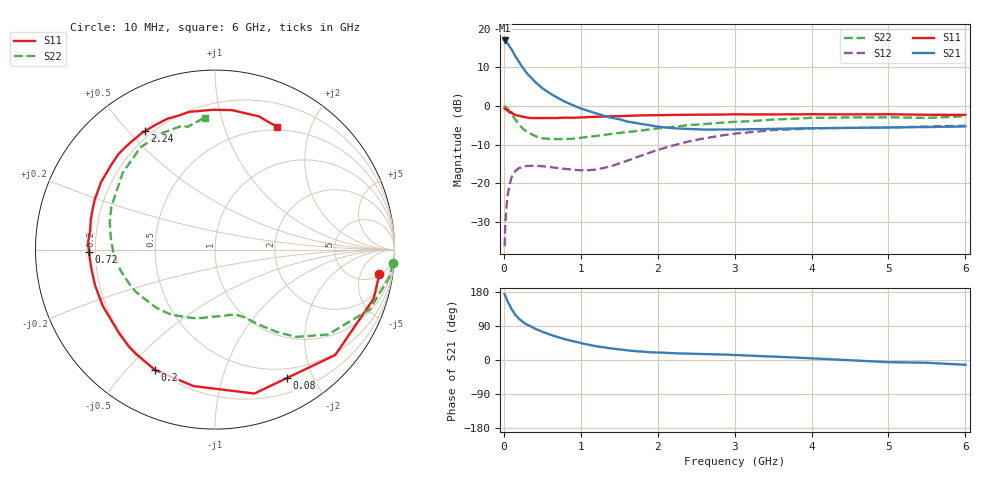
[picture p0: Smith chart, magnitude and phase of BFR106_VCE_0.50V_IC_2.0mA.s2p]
! Infineon Technologies  Discrete & RF Semiconductors
! BFR106
! VCE = 0.50 V,  IC =  2.0 mA
! Common Emitter S-Parameters:  Nov 2015
# GHz  S  MA  R  50
!  f  S11  S21  S12  S22
! GHz  MAG  ANG  MAG  ANG  MAG  ANG  MAG  ANG
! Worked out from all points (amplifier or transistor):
!   210 points, 10 MHz to 6 GHz, reference 50 ohm
!   highest |S21| = 17.0 dB at 10 MHz (marker M1)
!   |S21| within 3 dB of that: start of sweep to 119.6 MHz
!   unconditionally stable (mu >= 1): 735.5 MHz to end of sweep
!   at 185 MHz: K = 0.27, MSG = 14.1 dB, |S12| = -16.3 dB
!   at 1.52 GHz: K = 1.35, MAG = 2.1 dB, |S12| = -14.8 dB
!   at 6 GHz: K = 1.03, MAG = -1.1 dB, |S12| = -5.1 dB
!   S11 on the Smith chart (normalised r, x): 10 MHz: 5, -11; 80 MHz: 0.38, -1.64; 200 MHz: 0.20, -0.60; 720 MHz: 0.17, -0.01; 2.24 GHz: 0.17, +0.56; 6 GHz: 0.46, +1.53
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0.01  0.9259 -8.6  7.087 173.9  0.0152 85.9  0.9929 -4.4
0.02  0.9253 -17.2  6.999 169.3  0.0302 82.7  0.9839 -9.0
0.035  0.8883 -29.0  6.687 161.7  0.0505 71.3  0.9487 -14.9
0.05  0.891 -41.2  6.503 153.5  0.0716 66.5  0.9242 -21.2
0.08  0.8201 -60.8  5.797 142.6  0.0991 54.5  0.8343 -30.0
0.1  0.8316 -74.7  5.468 133.9  0.1189 49.7  0.7874 -36.9
0.15  0.7696 -99.0  4.422 118.6  0.144 37.6  0.664 -47.1
0.2  0.749 -116.6  3.688 108.2  0.157 30.3  0.5738 -53.1
0.26  0.7229 -131.5  3.003 98.5  0.164 24.0  0.4966 -58.6
0.3  0.7088 -139.1  2.653 93.4  0.167 21.4  0.4654 -61.2
0.4  0.6995 -153.3  2.087 83.0  0.1684 16.8  0.4094 -66.8
0.5  0.6974 -163.3  1.703 74.3  0.1654 14.3  0.3819 -71.9
0.6  0.6971 -171.5  1.455 66.7  0.1616 13.6  0.3729 -77.3
0.72  0.7022 -179.0  1.245 59.2  0.156 14.4  0.3722 -84.4
1.02  0.7132 165.3  0.916 43.8  0.1467 23.0  0.3895 -101.8
1.4  0.7378 149.4  0.703 30.4  0.1664 39.3  0.4366 -124.1
2.02  0.7605 127.7  0.537 19.7  0.2726 46.7  0.5142 -158.3
2.24  0.7668 120.8  0.512 17.6  0.3156 44.4  0.5424 -169.4
3.1  0.7786 98.6  0.498 12.3  0.4467 28.3  0.6289 153.9
4.1  0.7813 82.0  0.516 3.5  0.5141 10.4  0.7041 123.8
5.1  0.7789 70.8  0.528 -6.0  0.53 -2.3  0.7114 104.4
6  0.7676 63.1  0.543 -12.6  0.5561 -11.0  0.7379 94.5
